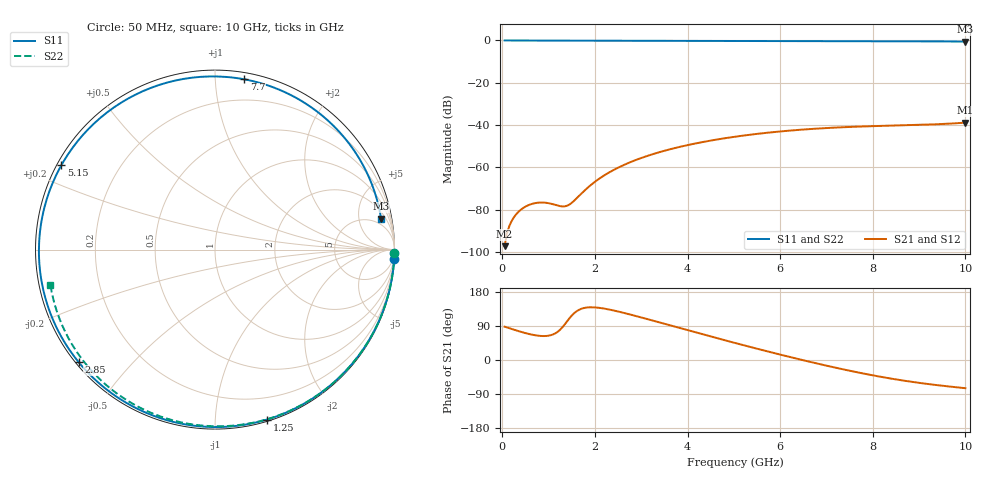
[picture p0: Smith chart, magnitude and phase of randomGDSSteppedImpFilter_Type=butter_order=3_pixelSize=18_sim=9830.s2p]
! freq	dB(S11)	phase(S11)	dB(S12)	phase(S12)
!  dB(S21)	phase(S21)	dB(S22)	phase(S22)
!S-par simulation data
#  GHz  S  DB  R 50
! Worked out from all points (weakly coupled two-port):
!   200 points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, 50 MHz to 10 GHz, reference 50 ohm
!   highest |S21| = -38.87 dB at 10 GHz (marker M1); lowest = -97.3 dB at 50 MHz (marker M2)
!   lowest |S11| = -0.5 dB at 10 GHz (marker M3), VSWR 32.88, Z = 162 + j488 ohm
!   |S11| at or under -10 dB: nowhere
!   |S22| runs from -0.6 to 0.0 dB; largest |S21 - S12| = 0
!   S11 on the Smith chart (normalised r, x): 50 MHz: 0, -36; 1.25 GHz: 0.01, -1.35; 2.85 GHz: 0.01, -0.36; 5.15 GHz: 0.01, +0.26; 7.7 GHz: 0.05, +1.18; 10 GHz: 3, +10
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0.05  -0.00 -3.2  -97.28 88.0  -97.28 88.0  -0.00 -1.0
0.4  -0.03 -24.8  -80.05 74.4  -80.05 74.4  -0.01 -7.8
0.7  -0.05 -42.7  -76.96 65.5  -76.96 65.5  -0.02 -13.5
0.95  -0.07 -56.9  -76.78 63.4  -76.78 63.4  -0.02 -18.3
1.25  -0.09 -72.9  -78.36 80.1  -78.36 80.1  -0.03 -24.0
1.35  -0.09 -78.0  -78.45 94.2  -78.45 94.2  -0.03 -25.9
1.45  -0.09 -83.0  -77.58 110.1  -77.58 110.1  -0.04 -27.8
1.75  -0.10 -97.1  -71.52 136.7  -71.52 136.7  -0.04 -33.4
2  -0.11 -108.1  -66.84 138.8  -66.84 138.8  -0.05 -38.1
2.25  -0.12 -118.3  -63.15 134.6  -63.15 134.6  -0.05 -42.7
2.85  -0.13 -140.5  -56.81 117.2  -56.81 117.2  -0.07 -53.6
3.4  -0.14 -158.6  -52.78 98.9  -52.78 98.9  -0.08 -63.3
4.2  -0.17 177.5  -48.58 72.1  -48.58 72.1  -0.11 -77.0
5.05  -0.20 153.9  -45.45 44.1  -45.45 44.1  -0.14 -91.1
5.15  -0.20 151.2  -45.15 40.9  -45.15 40.9  -0.14 -92.7
5.95  -0.24 129.5  -43.14 15.8  -43.14 15.8  -0.18 -105.5
6.7  -0.28 108.8  -41.81 -6.5  -41.81 -6.5  -0.23 -117.1
7.2  -0.30 94.7  -41.19 -20.4  -41.19 -20.4  -0.26 -124.8
7.7  -0.33 80.3  -40.73 -33.3  -40.73 -33.3  -0.30 -132.4
8.35  -0.37 61.0  -40.31 -48.2  -40.31 -48.2  -0.36 -142.2
9.25  -0.44 33.6  -39.74 -64.3  -39.74 -64.3  -0.46 -156.0
10  -0.53 10.6  -38.87 -74.4  -38.87 -74.4  -0.56 -167.8
